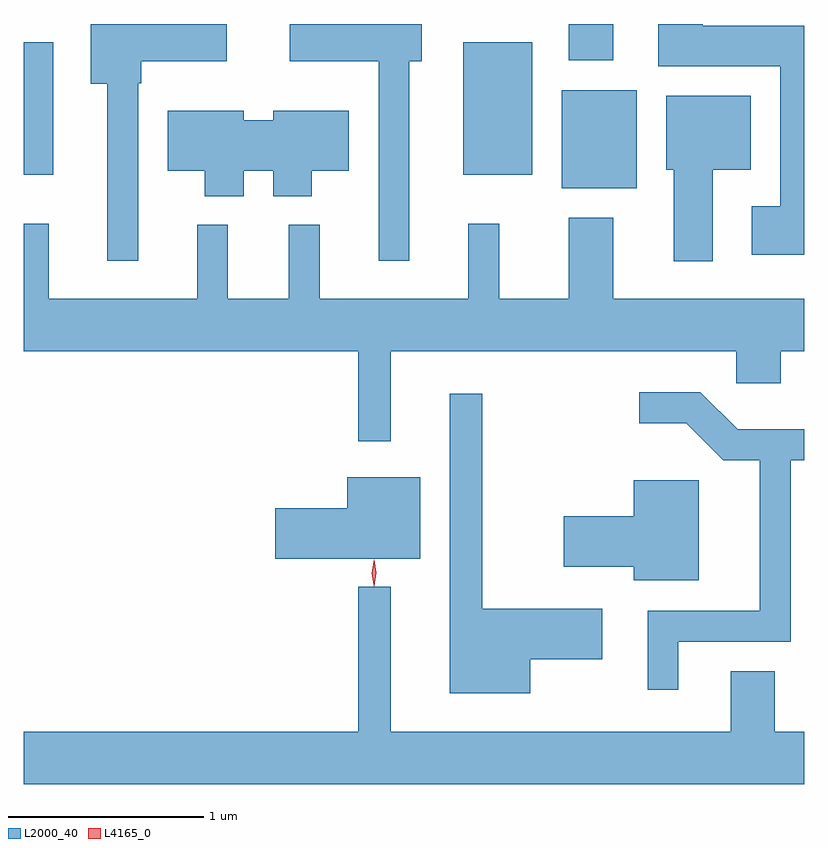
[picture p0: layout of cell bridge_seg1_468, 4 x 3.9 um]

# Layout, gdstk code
import gdstk
lib = gdstk.Library(unit=1e-6, precision=1e-09)
def R(c, l, rs):  # rectangles x0, y0, x1, y1
    for r in rs: c.add(gdstk.rectangle(r[:2], r[2:], *l))
def P(c, l, *ps):  # polygons
    for p in ps: c.add(gdstk.Polygon(p, *l))
L2000_40 = (2000, 40)
L4165_0 = (4165, 0)

bridge_seg1_468 = lib.new_cell('bridge_seg1_468')
R(bridge_seg1_468, L2000_40, [(211.956,856.011,212.339,856.514), (209.198,856.081,209.349,856.759), (211.451,856.081,211.804,856.759), (211.991,856.666,212.219,856.853)])
P(bridge_seg1_468, L2000_40, [(213.198,856.844),(212.679,856.844),(212.679,856.853),(212.451,856.853),(212.451,856.636),(213.076,856.636),(213.076,855.919),(212.931,855.919),(212.931,855.671),(213.198,855.671)],
  [(211.174,856.661),(211.239,856.661),(211.239,856.853),(210.561,856.853),(210.561,856.661),(211.016,856.661),(211.016,855.638),(211.174,855.638)],
  [(209.784,856.55),(209.799,856.55),(209.799,856.661),(210.239,856.661),(210.239,856.853),(209.541,856.853),(209.541,856.546),(209.626,856.546),(209.626,855.638),(209.784,855.638)],
  [(212.729,856.106),(212.924,856.106),(212.924,856.484),(212.491,856.484),(212.491,856.106),(212.531,856.106),(212.531,855.636),(212.729,855.636)],
  [(210.324,856.101),(210.476,856.101),(210.476,855.971),(210.674,855.971),(210.674,856.101),(210.864,856.101),(210.864,856.409),(210.476,856.409),(210.476,856.359),(210.324,856.359),(210.324,856.409),(209.936,856.409),(209.936,856.101),(210.126,856.101),(210.126,855.971),(210.324,855.971)],
  [(211.079,855.176),(212.851,855.176),(212.851,855.011),(213.079,855.011),(213.079,855.176),(213.198,855.176),(213.198,855.444),(212.219,855.444),(212.219,855.859),(211.991,855.859),(211.991,855.444),(211.634,855.444),(211.634,855.828),(211.476,855.828),(211.476,855.444),(210.714,855.444),(210.714,855.823),(210.556,855.823),(210.556,855.444),(210.244,855.444),(210.244,855.823),(210.086,855.823),(210.086,855.444),(209.324,855.444),(209.324,855.828),(209.198,855.828),(209.198,855.176),(210.911,855.176),(210.911,854.713),(211.079,854.713)],
  [(212.554,853.686),(213.129,853.686),(213.129,854.616),(213.198,854.616),(213.198,854.774),(212.857,854.774),(212.667,854.964),(212.353,854.964),(212.353,854.806),(212.594,854.806),(212.784,854.616),(212.971,854.616),(212.971,853.844),(212.396,853.844),(212.396,853.438),(212.554,853.438)],
  [(211.794,853.596),(212.164,853.596),(212.164,853.854),(211.549,853.854),(211.549,854.958),(211.381,854.958),(211.381,853.421),(211.794,853.421)],
  [(211.229,854.529),(210.856,854.529),(210.856,854.369),(210.486,854.369),(210.486,854.111),(211.229,854.111)],
  [(212.659,854.514),(212.326,854.514),(212.326,854.329),(211.966,854.329),(211.966,854.071),(212.326,854.071),(212.326,854.001),(212.659,854.001)],
  [(213.198,853.224),(213.049,853.224),(213.049,853.534),(212.821,853.534),(212.821,853.224),(211.079,853.224),(211.079,853.968),(210.911,853.968),(210.911,853.224),(209.198,853.224),(209.198,852.956),(213.198,852.956)])
P(bridge_seg1_468, L4165_0, [(210.992,853.973),(210.991,853.974),(210.982,854.036),(210.991,854.099),(210.992,854.1),(210.992,854.099),(211.002,854.036),(210.992,853.974)],
  [(210.994,853.97),(210.984,854.038),(210.993,854.105),(210.994,854.106),(210.994,854.105),(211.004,854.038),(210.995,853.97),(210.995,853.97)])

lib.write_gds('bridge_seg1_468.gds')
